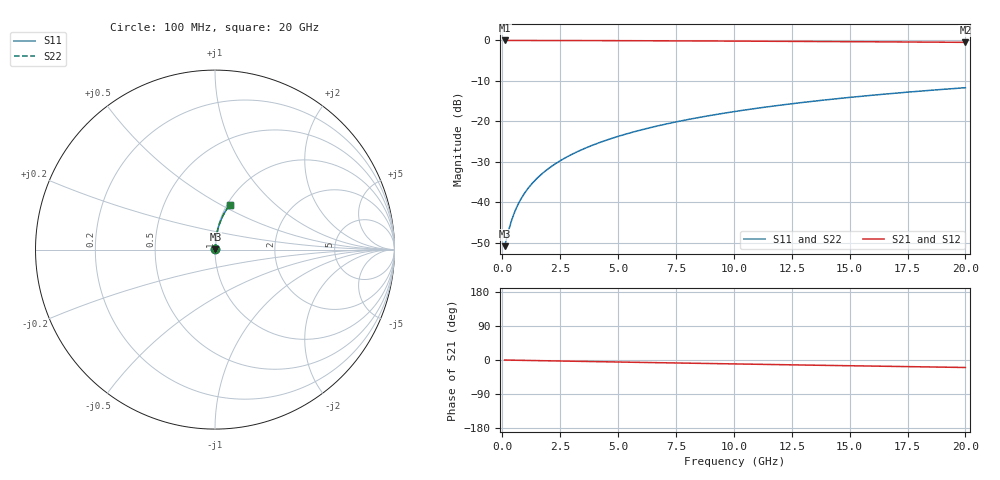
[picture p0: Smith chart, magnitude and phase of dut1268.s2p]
! Touchstone file exported from HFSS 2024.1.0
!  File:  C:/UserFiles/LocalFiles/RDL_TSV_Batchsim/temp_RDL_bottom_1268_1780246139.aedt
!  Generated:  12:51:41 AM Jun  1, 2026
!  Design:  RDL_bottom
!  Project:  temp_RDL_bottom_1268_1780246139
!  Setup:  Setup1
!  Solution:  Sweep
! Variables:
!  dtsv = 10.80580581um
!  hbump = 3um
!  htsv = 82.03um
!  ldown = 197.84um
!  lrdl = 100um
!  p = 40
!  p1 = 51.63um
!  rhole = 1um
!  t = 450um
!  tdown = 2.27um
!  trdl = 3.915915916um
!  wdown = 13.63um
!  wrdl = 20um
# GHz S MA R 50.000000
! Terminal data exported
! Port[1] = RDL1_T1
! Port[2] = RDL1_T2
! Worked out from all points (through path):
!   200 points, 100 MHz to 20 GHz, reference 50 ohm
!   highest |S21| = -0.02 dB at 100 MHz (marker M1); lowest = -0.5 dB at 20 GHz (marker M2)
!   group delay of S21, straight-line fit = 2.74 ps
!   lowest |S11| = -50.8 dB at 100 MHz (marker M3), VSWR 1.01, Z = 50.3 + j0.135 ohm
!   |S11| at or under -10 dB: start of sweep to end of sweep
!   |S22| runs from -50.8 to -11.7 dB; largest |S21 - S12| = 2.1e-15
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0.1  0.002876 27.9  0.9975 -0.1  0.9975 -0.1  0.002876 27.9
! Gamma 0 0 0 0
! Port Impedance 50 0 50 0
0.3  0.004788 57.1  0.9974 -0.3  0.9974 -0.3  0.004788 57.1
0.4  0.005963 63.6  0.9973 -0.4  0.9973 -0.4  0.005963 63.6
0.5  0.007184 67.9  0.9973 -0.6  0.9973 -0.6  0.007184 67.9
0.6  0.008425 70.9  0.9972 -0.7  0.9972 -0.7  0.008425 70.9
0.7  0.009677 73.1  0.9972 -0.8  0.9972 -0.8  0.009677 73.1
0.9  0.0122 76.2  0.997 -1.0  0.997 -1.0  0.0122 76.2
1.2  0.01599 78.9  0.9968 -1.3  0.9968 -1.3  0.01599 78.9
1.4  0.01853 80.1  0.9966 -1.5  0.9966 -1.5  0.01853 80.1
1.7  0.02235 81.4  0.9964 -1.8  0.9964 -1.8  0.02235 81.4
2.2  0.02876 82.7  0.996 -2.4  0.996 -2.4  0.02876 82.7
2.8  0.03649 83.5  0.9953 -3.0  0.9953 -3.0  0.03649 83.5
3.5  0.04558 84.0  0.9944 -3.7  0.9944 -3.7  0.04558 84.0
4.2  0.05472 84.1  0.9933 -4.5  0.9933 -4.5  0.05472 84.1
5  0.06523 84.0  0.9919 -5.3  0.9919 -5.3  0.06523 84.0
5.9  0.07713 83.7  0.9901 -6.2  0.9901 -6.2  0.07713 83.7
6.8  0.08909 83.2  0.9881 -7.2  0.9881 -7.2  0.08909 83.2
8.3  0.1091 82.3  0.9844 -8.7  0.9844 -8.7  0.1091 82.3
10.1  0.1331 80.9  0.9795 -10.5  0.9795 -10.5  0.1331 80.9
13.4  0.1768 78.0  0.9694 -13.6  0.9694 -13.6  0.1768 78.0
16.7  0.2193 75.0  0.958 -16.7  0.958 -16.7  0.2193 75.0
20  0.2603 71.9  0.9456 -19.8  0.9456 -19.8  0.2603 71.9
